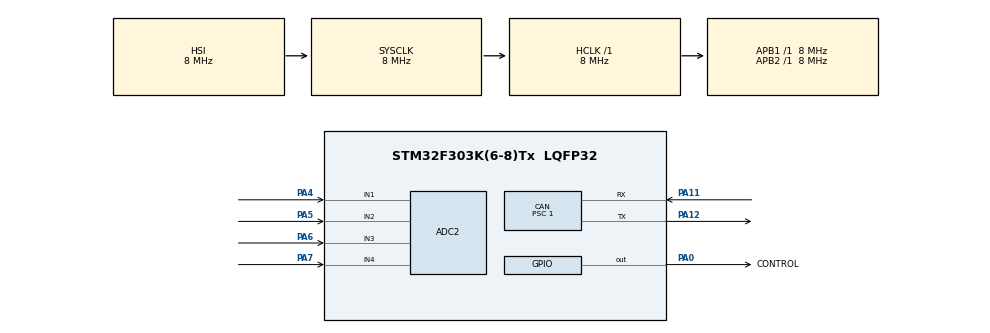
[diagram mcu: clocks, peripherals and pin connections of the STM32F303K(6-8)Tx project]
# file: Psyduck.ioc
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Mcu.Family=STM32F3
PA6.Mode=IN3-Single-Ended
ADC2.OffsetNumber-2\#ChannelRegularConversion=ADC_OFFSET_NONE
RCC.CortexFreq_Value=8000000
PA7.Mode=IN4-Single-Ended
PF0\ /\ OSC_IN.Mode=HSE-External-Oscillator
ADC2.Offset-3\#ChannelRegularConversion=0
ADC2.SamplingTime-1\#ChannelRegularConversion=ADC_SAMPLETIME_61CYCLES_5
ADC2.Channel-0\#ChannelRegularConversion=ADC_CHANNEL_1
ADC2.Rank-3\#ChannelRegularConversion=4
CAN.CalculateBaudRate=800000
PA0.PinState=GPIO_PIN_SET
PA0.GPIO_Label=CONTROL
PA11.Mode=CAN_Activate
CAN.CalculateTimeBit=1250.00
ProjectManager.StackSize=0x400
PA13.Signal=SYS_JTMS-SWDIO
ADC2.OffsetNumber-3\#ChannelRegularConversion=ADC_OFFSET_NONE
ADC2.SamplingTimeOPAMP-1\#ChannelRegularConversion=ADC_SAMPLETIME_61CYCLES_5
PA12.Signal=CAN_TX
CAN.BS2=CAN_BS2_2TQ
CAN.Prescaler=1
CAN.BS1=CAN_BS1_7TQ
ADC2.SamplingTimeOPAMP-3\#ChannelRegularConversion=ADC_SAMPLETIME_61CYCLES_5
ADC2.ContinuousConvMode=ENABLE
PA4.Mode=IN1-Single-Ended
NVIC.DMA1_Channel2_IRQn=true\:0\:0\:false\:false\:true\:false\:true
ProjectManager.TargetToolchain=STM32CubeIDE
ADC2.DMAContinuousRequests=ENABLE
RCC.HCLKFreq_Value=8000000
Dma.ADC2.0.Direction=DMA_PERIPH_TO_MEMORY
Dma.ADC2.0.MemDataAlignment=DMA_MDATAALIGN_HALFWORD
RCC.APB2TimFreq_Value=8000000
Dma.ADC2.0.MemInc=DMA_MINC_ENABLE
PF1\ /\ OSC_OUT.Signal=RCC_OSC_OUT
RCC.AHBFreq_Value=8000000
Dma.ADC2.0.Priority=DMA_PRIORITY_LOW
ADC2.OffsetNumber-1\#ChannelRegularConversion=ADC_OFFSET_NONE
PA5.Signal=ADC2_IN2
RCC.HSE_VALUE=16000000
ADC2.OffsetNumber-0\#ChannelRegularConversion=ADC_OFFSET_NONE
board=custom
RCC.PLLMUL=RCC_PLL_MUL16
ADC2.Channel-2\#ChannelRegularConversion=ADC_CHANNEL_3
Dma.ADC2.0.PeriphInc=DMA_PINC_DISABLE
ADC2.Offset-1\#ChannelRegularConversion=0
RCC.APB2Freq_Value=8000000
PF0\ /\ OSC_IN.Signal=RCC_OSC_IN
VP_TIM2_VS_ClockSourceINT.Mode=Internal
ADC2.SamplingTimeOPAMP-2\#ChannelRegularConversion=ADC_SAMPLETIME_61CYCLES_5
PA14.Mode=Serial_Wire
NVIC.TIM2_IRQn=true\:0\:0\:false\:false\:true\:true\:true
ADC2.SamplingTime-3\#ChannelRegularConversion=ADC_SAMPLETIME_1CYCLE_5
TIM2.Period=399
PA13.Mode=Serial_Wire
Mcu.Name=STM32F303K(6-8)Tx
CAN.CalculateTimeQuantum=125.0
PA0.Signal=GPIO_Output
PA4.Signal=ADC2_IN1
RCC.SYSCLKFreq_VALUE=8000000
Mcu.Package=LQFP32
TIM2.Prescaler=31999
PA6.Signal=ADC2_IN3
ADC2.Offset-0\#ChannelRegularConversion=0
PA12.Mode=CAN_Activate
ADC2.NbrOfConversionFlag=1
PA11.Signal=CAN_RX
ADC2.Channel-1\#ChannelRegularConversion=ADC_CHANNEL_2
ADC2.Offset-2\#ChannelRegularConversion=0
PA14.Signal=SYS_JTCK-SWCLK
ProjectManager.HeapSize=0x200
ADC2.SamplingTime-0\#ChannelRegularConversion=ADC_SAMPLETIME_61CYCLES_5
Dma.ADC2.0.Mode=DMA_CIRCULAR
RCC.HSI_VALUE=8000000
NVIC.PriorityGroup=NVIC_PRIORITYGROUP_4
ADC2.SamplingTime-2\#ChannelRegularConversion=ADC_SAMPLETIME_61CYCLES_5
Dma.ADC2.0.PeriphDataAlignment=DMA_PDATAALIGN_HALFWORD
ADC2.NbrOfConversion=4
ADC2.Rank-1\#ChannelRegularConversion=2
RCC.APB1TimFreq_Value=8000000
ADC2.Rank-2\#ChannelRegularConversion=3
ADC2.Rank-0\#ChannelRegularConversion=1
Dma.Request0=ADC2
RCC.APB1Freq_Value=8000000
Dma.ADC2.0.Instance=DMA1_Channel2
ADC2.Channel-3\#ChannelRegularConversion=ADC_CHANNEL_4
PF1\ /\ OSC_OUT.Mode=HSE-External-Oscillator
PA5.Mode=IN2-Single-Ended
PA7.Signal=ADC2_IN4

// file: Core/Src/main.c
/* USER CODE BEGIN Header */
/**
  ******************************************************************************
  * @file           : main.c
  * @brief          : Main program body
  ******************************************************************************
  * @attention
  *
  * <h2><center>&copy; Copyright (c) 2021 STMicroelectronics.
  * All rights reserved.</center></h2>
  *
  * This software component is licensed by ST under BSD 3-Clause license,
  * the "License"; You may not use this file except in compliance with the
  * License. You may obtain a copy of the License at:
  *                        opensource.org/licenses/BSD-3-Clause
  *
  ******************************************************************************
  */
/* USER CODE END Header */
#include "main.h"

/* USER CODE BEGIN Includes */
#include "string.h"
/* USER CODE END Includes */

/* USER CODE BEGIN PD */
#define ADC_VOLTAGE_CONVERSION 0.0008058608F
#define RSHUNT 0.5F
#define V2LP 62.5F
#define V2HP 580.151F
#define VGain_1	ADC_VOLTAGE_CONVERSION*V2LP*3/2
#define VGain_2 ADC_VOLTAGE_CONVERSION*V2HP
#define IGain ADC_VOLTAGE_CONVERSION/RSHUNT/50.0
/* USER CODE END PD */

ADC_HandleTypeDef hadc2;
DMA_HandleTypeDef hdma_adc2;

CAN_HandleTypeDef hcan;

TIM_HandleTypeDef htim2;

/* USER CODE BEGIN PV */
uint16_t ADC2ConvertedValues[64]; //16 samples per sensor (3 pressure + 1 current), storing raw ADC values
float pressure[3];
float current;
uint32_t sum = 0;
uint16_t mean = 0;
float offset[4] = {-31.25, -31.25, 0, 0};
uint8_t bytes[4];
uint8_t IDs[3] = {0x20, 0x21, 0x22};
uint8_t Data[4];
uint32_t TxMailBox = 0;
CAN_TxHeaderTypeDef TxHeader;
CAN_FilterTypeDef FilterConfig;
CAN_RxHeaderTypeDef RxHeader;
uint32_t fifo =0;
/* USER CODE END PV */

void SystemClock_Config(void);
static void MX_GPIO_Init(void);
static void MX_DMA_Init(void);
static void MX_ADC2_Init(void);
static void MX_CAN_Init(void);
static void MX_TIM2_Init(void);

int main(void)
{

  /* MCU Configuration--------------------------------------------------------*/

  /* Reset of all peripherals, Initializes the Flash interface and the Systick. */
  HAL_Init();

  /* Configure the system clock */
  SystemClock_Config();

  /* Initialize all configured peripherals */
  MX_GPIO_Init();
  MX_DMA_Init();
  MX_ADC2_Init();
  MX_CAN_Init();
  MX_TIM2_Init();
  /* USER CODE BEGIN 2 */
  hcan.Instance->MCR = 0x60; // important for debugging canbus, allows for normal operation during debugging
  HAL_CAN_Start(&hcan);
  HAL_ADC_Start_DMA(&hadc2, (uint32_t*)ADC2ConvertedValues, 64);
 // HAL_TIM_Base_Start_IT(&htim2);
  //__HAL_TIM_SET_COUNTER(&htim2, 0);
  /* USER CODE END 2 */

  /* Infinite loop */
  /* USER CODE BEGIN WHILE */
  while (1)
  {
	 if (HAL_CAN_GetRxFifoFillLevel(&hcan, fifo ) !=0) { // check if mail box is not empty
	  	HAL_CAN_GetRxMessage(&hcan, fifo, &RxHeader, Data); // copy frame data to RX header
	  	switch (RxHeader.ExtId) {
	  		case 0:
	  			if  ((Data[0] == 0x02) || (Data[0] == 0x03) || (Data[0] == 0x08)) {
	  				HAL_GPIO_WritePin(CONTROL_GPIO_Port, CONTROL_Pin, GPIO_PIN_RESET);
	  			}

	  			if ((Data[0] == 0x04) || (Data[0] == 0x05) || (Data[0] == 0x06) || (Data[0] == 0x07)) {
	  				HAL_GPIO_WritePin(CONTROL_GPIO_Port, CONTROL_Pin, GPIO_PIN_SET);
	  			}
	  			break;

	  		default:
	  			break;

	  	}

	 }
	 for (uint8_t i=0; i < 3; ++i) { 										//looping through CAN messages and sending data acquired

	 		TxHeader.StdId = IDs[i];
	 		float2Bytes(pressure[2-i], &bytes[0]); 						//converting the floats to packets of bytes

	 		for (uint8_t j=0 ; j < 4; j++) {
	 				Data[3-j] = bytes[j]; 									//writing down for the data buffer
	 		}

	 		HAL_CAN_AddTxMessage(&hcan, &TxHeader, Data, &TxMailBox ); 	// load message to mailbox
	 		while (HAL_CAN_IsTxMessagePending( &hcan, TxMailBox));		//waiting till message gets through
	 }
	 HAL_Delay(200);
    /* USER CODE END WHILE */

  }
}

void SystemClock_Config(void)
{
  RCC_OscInitTypeDef RCC_OscInitStruct = {0};
  RCC_ClkInitTypeDef RCC_ClkInitStruct = {0};
  RCC_PeriphCLKInitTypeDef PeriphClkInit = {0};

  /** Initializes the RCC Oscillators according to the specified parameters
  * in the RCC_OscInitTypeDef structure.
  */
  RCC_OscInitStruct.OscillatorType = RCC_OSCILLATORTYPE_HSI;
  RCC_OscInitStruct.HSIState = RCC_HSI_ON;
  RCC_OscInitStruct.HSICalibrationValue = RCC_HSICALIBRATION_DEFAULT;
  RCC_OscInitStruct.PLL.PLLState = RCC_PLL_ON;
  RCC_OscInitStruct.PLL.PLLSource = RCC_PLLSOURCE_HSI;
  RCC_OscInitStruct.PLL.PLLMUL = RCC_PLL_MUL16;
  if (HAL_RCC_OscConfig(&RCC_OscInitStruct) != HAL_OK)
  {
    Error_Handler();
  }
  /** Initializes the CPU, AHB and APB buses clocks
  */
  RCC_ClkInitStruct.ClockType = RCC_CLOCKTYPE_HCLK|RCC_CLOCKTYPE_SYSCLK
                              |RCC_CLOCKTYPE_PCLK1|RCC_CLOCKTYPE_PCLK2;
  RCC_ClkInitStruct.SYSCLKSource = RCC_SYSCLKSOURCE_HSI;
  RCC_ClkInitStruct.AHBCLKDivider = RCC_SYSCLK_DIV1;
  RCC_ClkInitStruct.APB1CLKDivider = RCC_HCLK_DIV1;
  RCC_ClkInitStruct.APB2CLKDivider = RCC_HCLK_DIV1;

  if (HAL_RCC_ClockConfig(&RCC_ClkInitStruct, FLASH_LATENCY_0) != HAL_OK)
  {
    Error_Handler();
  }
  PeriphClkInit.PeriphClockSelection = RCC_PERIPHCLK_ADC12;
  PeriphClkInit.Adc12ClockSelection = RCC_ADC12PLLCLK_DIV1;
  if (HAL_RCCEx_PeriphCLKConfig(&PeriphClkInit) != HAL_OK)
  {
    Error_Handler();
  }
}

static void MX_ADC2_Init(void)
{

  ADC_ChannelConfTypeDef sConfig = {0};

  /** Common config
  */
  hadc2.Instance = ADC2;
  hadc2.Init.ClockPrescaler = ADC_CLOCK_ASYNC_DIV1;
  hadc2.Init.Resolution = ADC_RESOLUTION_12B;
  hadc2.Init.ScanConvMode = ADC_SCAN_ENABLE;
  hadc2.Init.ContinuousConvMode = ENABLE;
  hadc2.Init.DiscontinuousConvMode = DISABLE;
  hadc2.Init.ExternalTrigConvEdge = ADC_EXTERNALTRIGCONVEDGE_NONE;
  hadc2.Init.ExternalTrigConv = ADC_SOFTWARE_START;
  hadc2.Init.DataAlign = ADC_DATAALIGN_RIGHT;
  hadc2.Init.NbrOfConversion = 4;
  hadc2.Init.DMAContinuousRequests = ENABLE;
  hadc2.Init.EOCSelection = ADC_EOC_SINGLE_CONV;
  hadc2.Init.LowPowerAutoWait = DISABLE;
  hadc2.Init.Overrun = ADC_OVR_DATA_OVERWRITTEN;
  if (HAL_ADC_Init(&hadc2) != HAL_OK)
  {
    Error_Handler();
  }
  /** Configure Regular Channel
  */
  sConfig.Channel = ADC_CHANNEL_1;
  sConfig.Rank = ADC_REGULAR_RANK_1;
  sConfig.SingleDiff = ADC_SINGLE_ENDED;
  sConfig.SamplingTime = ADC_SAMPLETIME_61CYCLES_5;
  sConfig.OffsetNumber = ADC_OFFSET_NONE;
  sConfig.Offset = 0;
  if (HAL_ADC_ConfigChannel(&hadc2, &sConfig) != HAL_OK)
  {
    Error_Handler();
  }
  /** Configure Regular Channel
  */
  sConfig.Channel = ADC_CHANNEL_2;
  sConfig.Rank = ADC_REGULAR_RANK_2;
  if (HAL_ADC_ConfigChannel(&hadc2, &sConfig) != HAL_OK)
  {
    Error_Handler();
  }
  /** Configure Regular Channel
  */
  sConfig.Channel = ADC_CHANNEL_3;
  sConfig.Rank = ADC_REGULAR_RANK_3;
  if (HAL_ADC_ConfigChannel(&hadc2, &sConfig) != HAL_OK)
  {
    Error_Handler();
  }
  /** Configure Regular Channel
  */
  sConfig.Channel = ADC_CHANNEL_4;
  sConfig.Rank = ADC_REGULAR_RANK_4;
  sConfig.SamplingTime = ADC_SAMPLETIME_1CYCLE_5;
  if (HAL_ADC_ConfigChannel(&hadc2, &sConfig) != HAL_OK)
  {
    Error_Handler();
  }

}

static void MX_CAN_Init(void)
{

  hcan.Instance = CAN;
  hcan.Init.Prescaler = 1;
  hcan.Init.Mode = CAN_MODE_NORMAL;
  hcan.Init.SyncJumpWidth = CAN_SJW_1TQ;
  hcan.Init.TimeSeg1 = CAN_BS1_7TQ;
  hcan.Init.TimeSeg2 = CAN_BS2_2TQ;
  hcan.Init.TimeTriggeredMode = DISABLE;
  hcan.Init.AutoBusOff = DISABLE;
  hcan.Init.AutoWakeUp = DISABLE;
  hcan.Init.AutoRetransmission = DISABLE;
  hcan.Init.ReceiveFifoLocked = DISABLE;
  hcan.Init.TransmitFifoPriority = DISABLE;
  if (HAL_CAN_Init(&hcan) != HAL_OK)
  {
    Error_Handler();
  }
  /* USER CODE BEGIN CAN_Init 2 */
  FilterConfig.FilterIdHigh = 0x0000;
  FilterConfig.FilterIdLow = 0x0000;
  FilterConfig.FilterMaskIdHigh = 0x0000;
  FilterConfig.FilterMaskIdLow = 0x0000;
  FilterConfig.FilterFIFOAssignment = CAN_FILTER_FIFO0;
  FilterConfig.FilterBank = 13;
  FilterConfig.FilterMode = CAN_FILTERMODE_IDMASK;
  FilterConfig.FilterScale = CAN_FILTERSCALE_16BIT;
  FilterConfig.FilterActivation = CAN_FILTER_ENABLE;
  HAL_CAN_ConfigFilter(&hcan, &FilterConfig);

  //Configuring TX:
  TxHeader.StdId = 0x00;
  //TxHeader.ExtId = 0x01;
  TxHeader.RTR = CAN_RTR_DATA; 	 			// want data frame
  TxHeader.IDE = CAN_ID_EXT;	 			// want extended frame
  TxHeader.DLC = 4;			 	 			// amounts of bytes u sending
  TxHeader.TransmitGlobalTime = DISABLE;
  /* USER CODE END CAN_Init 2 */

}

static void MX_TIM2_Init(void)
{

  TIM_ClockConfigTypeDef sClockSourceConfig = {0};
  TIM_MasterConfigTypeDef sMasterConfig = {0};

  htim2.Instance = TIM2;
  htim2.Init.Prescaler = 31999;
  htim2.Init.CounterMode = TIM_COUNTERMODE_UP;
  htim2.Init.Period = 399;
  htim2.Init.ClockDivision = TIM_CLOCKDIVISION_DIV1;
  htim2.Init.AutoReloadPreload = TIM_AUTORELOAD_PRELOAD_DISABLE;
  if (HAL_TIM_Base_Init(&htim2) != HAL_OK)
  {
    Error_Handler();
  }
  sClockSourceConfig.ClockSource = TIM_CLOCKSOURCE_INTERNAL;
  if (HAL_TIM_ConfigClockSource(&htim2, &sClockSourceConfig) != HAL_OK)
  {
    Error_Handler();
  }
  sMasterConfig.MasterOutputTrigger = TIM_TRGO_RESET;
  sMasterConfig.MasterSlaveMode = TIM_MASTERSLAVEMODE_DISABLE;
  if (HAL_TIMEx_MasterConfigSynchronization(&htim2, &sMasterConfig) != HAL_OK)
  {
    Error_Handler();
  }

}

static void MX_DMA_Init(void)
{

  /* DMA controller clock enable */
  __HAL_RCC_DMA1_CLK_ENABLE();

  /* DMA interrupt init */
  /* DMA1_Channel2_IRQn interrupt configuration */
  HAL_NVIC_SetPriority(DMA1_Channel2_IRQn, 0, 0);
  HAL_NVIC_EnableIRQ(DMA1_Channel2_IRQn);

}

static void MX_GPIO_Init(void)
{
  GPIO_InitTypeDef GPIO_InitStruct = {0};

  /* GPIO Ports Clock Enable */
  __HAL_RCC_GPIOF_CLK_ENABLE();
  __HAL_RCC_GPIOA_CLK_ENABLE();

  /*Configure GPIO pin Output Level */
  HAL_GPIO_WritePin(CONTROL_GPIO_Port, CONTROL_Pin, GPIO_PIN_SET);

  /*Configure GPIO pin : CONTROL_Pin */
  GPIO_InitStruct.Pin = CONTROL_Pin;
  GPIO_InitStruct.Mode = GPIO_MODE_OUTPUT_PP;
  GPIO_InitStruct.Pull = GPIO_NOPULL;
  GPIO_InitStruct.Speed = GPIO_SPEED_FREQ_LOW;
  HAL_GPIO_Init(CONTROL_GPIO_Port, &GPIO_InitStruct);

}

/* USER CODE BEGIN 4 */
void float2Bytes(float val, uint8_t *bytes_array){
  // Create union of shared memory space
  union {
    float float_variable;
    uint8_t temp_array[4];
  } u;
  // Overite bytes of union with float variable
  u.float_variable = val;
  // Assign bytes to input array
  memcpy(bytes_array, u.temp_array, 4);
}

void HAL_ADC_ConvCpltCallback(ADC_HandleTypeDef* hadc) {
	for (uint8_t i=0; i < 4; i++) {
		sum = 0;
		mean = 0;

		for(uint8_t j=0; j < 16; j++) {
			sum += ADC2ConvertedValues[i + 4*j];
		}

		mean = sum/16;

		//i = 0, 1 psi250 max. i=2 psi5805.51 max
		switch (i)
		{
			case 0:
				pressure[0] = (((float)mean)*VGain_1) + offset[i];
			break;

			case 1:
				pressure[1] = (((float)mean)*VGain_1) + offset[i];
			break;

			case 2:
				pressure[2] = (((float)mean)*VGain_2) + offset[i];
			break;

			case 3:
				current = (((float)mean)*IGain) + offset[i];
			break;

			default:
			break;
				}
	}
}

/*void HAL_TIM_PeriodElapsedCallback(TIM_HandleTypeDef *htim) {

} */
/* USER CODE END 4 */

void Error_Handler(void)
{
  __disable_irq();
  while (1)
  {
  }
}

/************************ (C) COPYRIGHT STMicroelectronics *****END OF FILE****/
